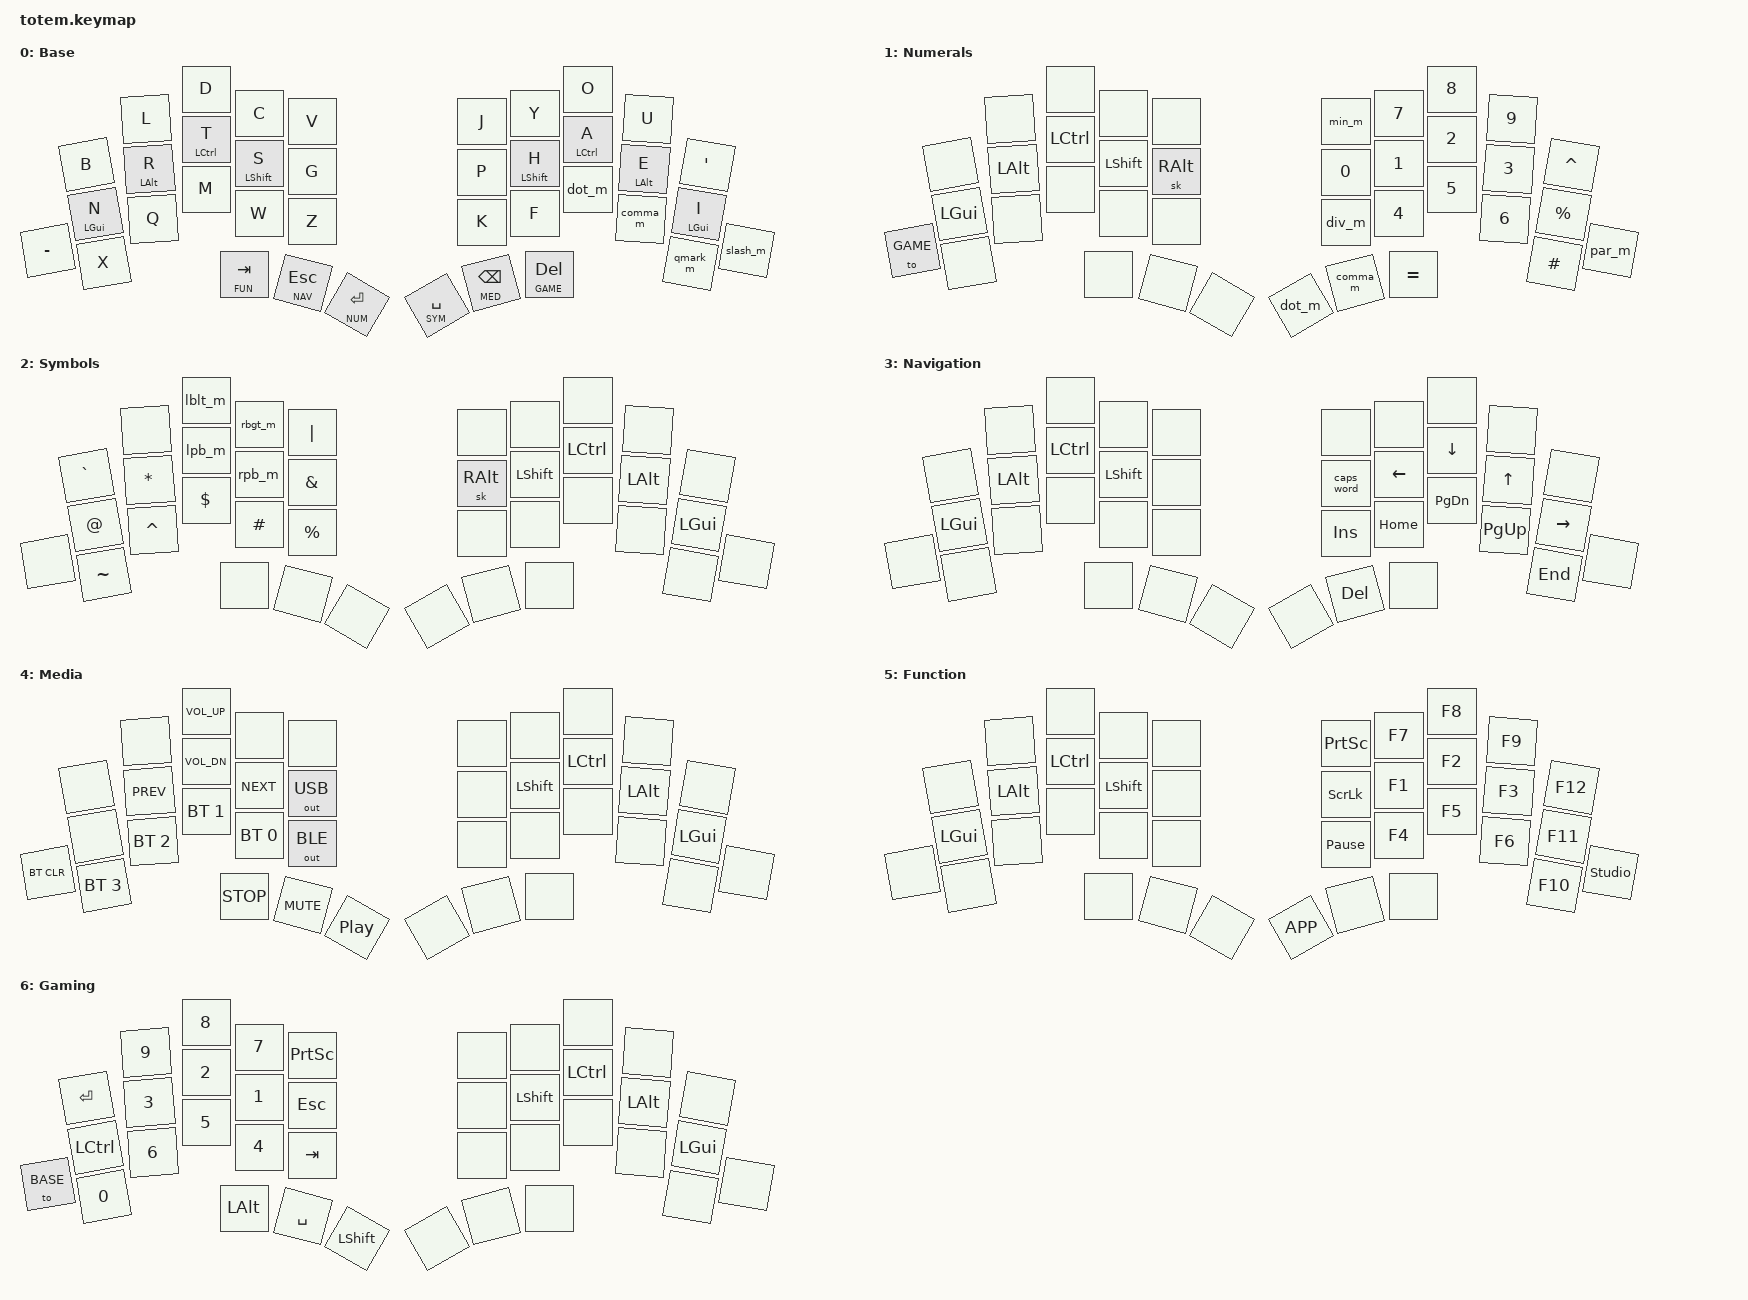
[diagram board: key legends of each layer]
//
//                                                        ▀▀▀▀▀     ▀▀▀▀▀          ▀▀█▀▀
//                                                        ▄▀▀▀▄  ▄  ▄▀▀▀▄  ▄  ▄▀▀▀▄  █  ▄▀▀▀▄
//                                                        █   █  █  █   █  █  █   █  █  █   █
//                                                         ▀▀▀   █   ▀▀▀   █   ▀▀▀   ▀   ▀▀▀
//                                                               █      ▄▄▄█▄▄▄    █   █  
//                                                               ▀      █  █  █     █▄█
//                                                             ▀▀▀▀▀    █  █  █      ▀
//                                                                      ▀  ▀  ▀
//
// ▄▄▄▄▄▄▄▄▄▄▄▄▄▄▄▄▄▄▄▄▄▄▄▄▄▄▄▄▄▄▄▄▄▄▄▄▄▄▄▄▄▄▄▄▄▄▄▄▄▄▄▄▄▄▄▄▄▄▄▄▄▄▄▄▄▄▄▄▄▄▄▄▄▄▄▄▄▄▄▄▄▄▄▄▄▄▄▄▄▄▄▄▄▄▄▄▄▄▄▄▄▄▄▄▄▄▄▄▄▄▄▄▄▄▄▄▄▄▄▄▄▄▄▄▄▄▄▄▄▄▄▄▄▄▄▄▄▄▄▄▄▄▄▄▄▄▄▄▄

#include <behaviors.dtsi>
#include <dt-bindings/zmk/keys.h>
#include <dt-bindings/zmk/bt.h>
#include <dt-bindings/zmk/outputs.h>

#define BASE        0
#define NUM         1
#define SYM         2
#define NAV         3
#define MED         4
#define FUN         5
#define GAME        6

&lt {
    tapping-term-ms = <200>;
    quick-tap-ms = <175>;
    flavor = "tap-preferred";
};

/ {
    combos {
        compatible = "zmk,combos";
        combo_z {
            timeout-ms = <50>;
            key-positions = <6 7>;  // L+D
            layers = <BASE>;
            bindings = <&kp Z>;
        };

        combo_q {
            timeout-ms = <50>;
            key-positions = <7 8>;  // D+P
            layers = <BASE>;
            bindings = <&kp Q>;
        };

        combo_copy {
            timeout-ms = <50>;
            key-positions = <22 23>;
            layers = <BASE>;
            bindings = <&kp K_COPY>;
        };

        combo_cut {
            timeout-ms = <50>;
            key-positions = <22 24>;
            layers = <BASE>;
            bindings = <&kp K_CUT>;
        };

        combo_paste {
            timeout-ms = <50>;
            key-positions = <23 24>;
            layers = <BASE>;
            bindings = <&kp K_PASTE>;
        };
    };

    behaviors {
        hm: homerow_mods {
            label = "Homerow Mod";
            compatible = "zmk,behavior-hold-tap";
            flavor = "balanced";
            tapping-term-ms = <280>;
            quick-tap-ms = <175>;
            require-prior-idle-ms = <150>;
            #binding-cells = <2>;
            bindings = <&kp>, <&kp>;
        };

        comma_m: comma_morph {  // tap: comma | shift + tap: semicolon
            compatible = "zmk,behavior-mod-morph";
            #binding-cells = <0>;
            bindings = <&kp COMMA>, <&kp SEMI>;
            mods = <(MOD_LSFT|MOD_RSFT)>;
        };

        dot_m: dot_morph {  // tap: dot | shift + tap: colon
            compatible = "zmk,behavior-mod-morph";
            #binding-cells = <0>;
            bindings = <&kp DOT>, <&kp COLON>;
            mods = <(MOD_LSFT|MOD_RSFT)>;
        };

        qmark_m: questionmark_morph {  // tap: question mark | shift + tap: exclamation mark
            compatible = "zmk,behavior-mod-morph";
            #binding-cells = <0>;
            bindings = <&kp QMARK>, <&kp EXCL>;
            mods = <(MOD_LSFT|MOD_RSFT)>;
        };

        slash_m: slash_morph {  // tap: slash | shift + tap: backslash
            compatible = "zmk,behavior-mod-morph";
            #binding-cells = <0>;
            bindings = <&kp SLASH>, <&kp BSLH>;
            mods = <(MOD_LSFT|MOD_RSFT)>;
        };

        bspc_m: backspace_morph {  // tap: backspace | shift + tap: delete
            compatible = "zmk,behavior-mod-morph";
            #binding-cells = <0>;
            bindings = <&kp BSPC>, <&kp DEL>;
            mods = <(MOD_LSFT|MOD_RSFT)>;
        };

        min_m: minus_morph {  // tap: minus | shift + tap: plus
            compatible = "zmk,behavior-mod-morph";
            #binding-cells = <0>;
            bindings = <&kp MINUS>, <&kp PLUS>;
            mods = <(MOD_LSFT|MOD_RSFT)>;
        };

        div_m: divide_morph {  // tap: forward slash | shift + tap: asterisk
            compatible = "zmk,behavior-mod-morph";
            #binding-cells = <0>;
            bindings = <&kp SLASH>, <&kp ASTRK>;
            mods = <(MOD_LSFT|MOD_RSFT)>;
        };

        par_m: paren_morph {  // tap: left parenthesis | shift + tap: right parenthesis
            compatible = "zmk,behavior-mod-morph";
            #binding-cells = <0>;
            bindings = <&kp LPAR>, <&kp RPAR>;
            mods = <(MOD_LSFT|MOD_RSFT)>;
        };

        lpb_m: left_paren_left_bracket_morph {  // tap: left parenthesis | shift + tap: left bracket
            compatible = "zmk,behavior-mod-morph";
            #binding-cells = <0>;
            bindings = <&kp LPAR>, <&kp LBKT>;
            mods = <(MOD_LSFT|MOD_RSFT)>;
        };

        rpb_m: right_paren_right_bracket_morph {  // tap: right parenthesis | shift + tap: right bracket
            compatible = "zmk,behavior-mod-morph";
            #binding-cells = <0>;
            bindings = <&kp RPAR>, <&kp RBKT>;
            mods = <(MOD_LSFT|MOD_RSFT)>;
        };

        lblt_m: left_brace_less_than_morph {  // tap: left brace | shift + tap: less than
            compatible = "zmk,behavior-mod-morph";
            #binding-cells = <0>;
            bindings = <&kp LBRC>, <&kp LT>;
            mods = <(MOD_LSFT|MOD_RSFT)>;
        };

        rbgt_m: right_brace_greater_than_morph {  // tap: right brace | shift + tap: greater than
            compatible = "zmk,behavior-mod-morph";
            #binding-cells = <0>;
            bindings = <&kp RBRC>, <&kp GT>;
            mods = <(MOD_LSFT|MOD_RSFT)>;
        };
    };

// Gallium v1
//   b l d c v  j y o u '
//   n r t s g  p h a e i
// - x q m w z  k f . , ? /

    keymap {
        compatible = "zmk,keymap";

        base_layer {
            display-name = "Base";
            bindings = <
           &kp B       &kp L       &kp D        &kp C        &kp V        &kp J          &kp Y         &kp O         &kp U       &kp APOS
           &hm LGUI N  &hm LALT R  &hm LCTRL T  &hm LSHFT S  &kp G        &kp P          &hm LSHFT H   &hm LCTRL A   &hm LALT E  &hm LGUI I
&kp MINUS  &kp X       &kp Q       &kp M        &kp W        &kp Z        &kp K          &kp F         &dot_m        &comma_m    &qmark_m    &slash_m
                                   &lt FUN TAB  &lt NAV ESC  &lt NUM RET  &lt SYM SPACE  &lt MED BSPC  &lt GAME DEL
            >;
        };

        num_layer {
            display-name = "Numerals";
            bindings = <
          &none     &none     &none      &none      &none     &min_m  &kp N7    &kp N8     &kp N9  &kp CARET
          &kp LGUI  &kp LALT  &kp LCTRL  &kp LSHFT  &sk RALT  &kp N0  &kp N1    &kp N2     &kp N3  &kp PRCNT
&to GAME  &none     &none     &none      &none      &none     &div_m  &kp N4    &kp N5     &kp N6  &kp HASH   &par_m
                              &none      &none      &none     &dot_m  &comma_m  &kp EQUAL
            >;
        };

        sym_layer {
            display-name = "Symbols";
            bindings = <
       &kp GRAVE  &none      &lblt_m   &rbgt_m   &kp PIPE   &none     &none      &none      &none     &none
       &kp AT     &kp ASTRK  &lpb_m    &rpb_m    &kp AMPS   &sk RALT  &kp LSHFT  &kp LCTRL  &kp LALT  &kp LGUI
&none  &kp TILDE  &kp CARET  &kp DLLR  &kp HASH  &kp PRCNT  &none     &none      &none      &none     &none     &none
                             &none     &none     &none      &none     &none      &none
            >;
        };

        nav_layer {
            display-name = "Navigation";
            bindings = <
       &none     &none     &none      &none      &none   &none       &none     &none      &none      &none
       &kp LGUI  &kp LALT  &kp LCTRL  &kp LSHFT  &none   &caps_word  &kp LEFT  &kp DOWN   &kp UP     &kp RIGHT
&none  &none     &none     &none      &none      &none   &kp INS     &kp HOME  &kp PG_DN  &kp PG_UP  &kp END    &none
                           &none      &none      &none   &none       &kp DEL   &none
            >;
        };

        med_layer {
            display-name = "Media";
            bindings = <
            &none         &none         &kp C_VOL_UP  &none         &none         &none  &none      &none      &none     &none
            &none         &kp C_PREV    &kp C_VOL_DN  &kp C_NEXT    &out OUT_USB  &none  &kp LSHFT  &kp LCTRL  &kp LALT  &kp LGUI
&bt BT_CLR  &bt BT_SEL 3  &bt BT_SEL 2  &bt BT_SEL 1  &bt BT_SEL 0  &out OUT_BLE  &none  &none      &none      &none     &none     &none
                                        &kp C_STOP    &kp C_MUTE    &kp C_PP      &none  &none      &none
            >;
        };

        fun_layer {
            display-name = "Function";
            bindings = <
       &none     &none     &none      &none      &none   &kp PSCRN        &kp F7  &kp F8  &kp F9  &kp F12
       &kp LGUI  &kp LALT  &kp LCTRL  &kp LSHFT  &none   &kp SLCK         &kp F1  &kp F2  &kp F3  &kp F11
&none  &none     &none     &none      &none      &none   &kp PAUSE_BREAK  &kp F4  &kp F5  &kp F6  &kp F10  &studio_unlock
                           &none      &none      &none   &kp K_APP        &none   &none
            >;
        };

        game_layer {
            display-name = "Gaming";
            bindings = <
          &kp RET    &kp N9  &kp N8     &kp N7     &kp PSCRN  &none  &none      &none      &none     &none
          &kp LCTRL  &kp N3  &kp N2     &kp N1     &kp ESC    &none  &kp LSHFT  &kp LCTRL  &kp LALT  &kp LGUI
&to BASE  &kp N0     &kp N6  &kp N5     &kp N4     &kp TAB    &none  &none      &none      &none     &none     &none
                             &kp LALT   &kp SPACE  &kp LSHFT  &none  &none      &none
            >;
        };

    };
};
